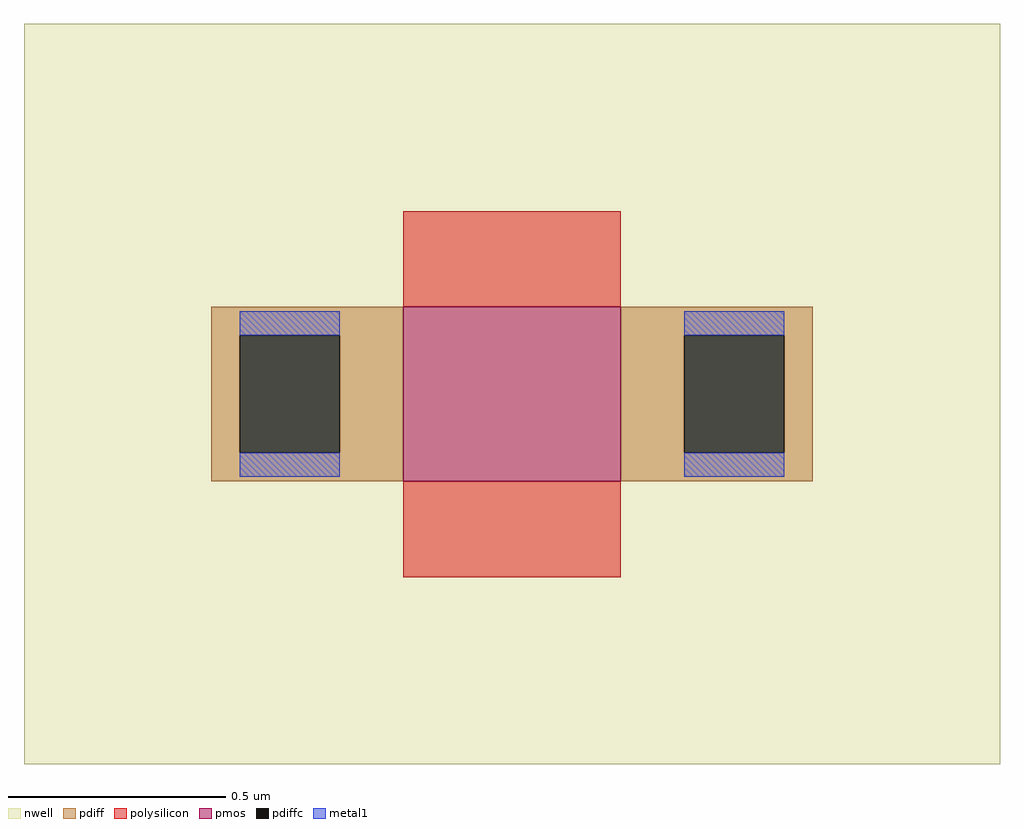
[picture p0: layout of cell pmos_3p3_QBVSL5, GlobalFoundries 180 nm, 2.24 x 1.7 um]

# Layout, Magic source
magic
tech gf180mcuC
magscale 1 10
<< nwell >>
rect -224 -170 224 170
<< pmos >>
rect -50 -40 50 40
<< pdiff >>
rect -138 27 -50 40
rect -138 -27 -125 27
rect -79 -27 -50 27
rect -138 -40 -50 -27
rect 50 27 138 40
rect 50 -27 79 27
rect 125 -27 138 27
rect 50 -40 138 -27
<< pdiffc >>
rect -125 -27 -79 27
rect 79 -27 125 27
<< polysilicon >>
rect -50 40 50 84
rect -50 -84 50 -40
<< metal1 >>
rect -125 27 -79 38
rect -125 -38 -79 -27
rect 79 27 125 38
rect 79 -38 125 -27
<< properties >>
string gencell pmos_3p3
string library gf180mcu
string parameters w 0.4 l 0.5 m 1 nf 1 diffcov 100 polycov 100 guard 0 glc 0 grc 0 gtc 0 gbc 0 tbcov 100 rlcov 100 topc 0 botc 0 poverlap 0 doverlap 1 lmin 0.28 wmin 0.22 full_metal 0 compatible {pmos_3p3 pmos_6p0}
<< end >>
